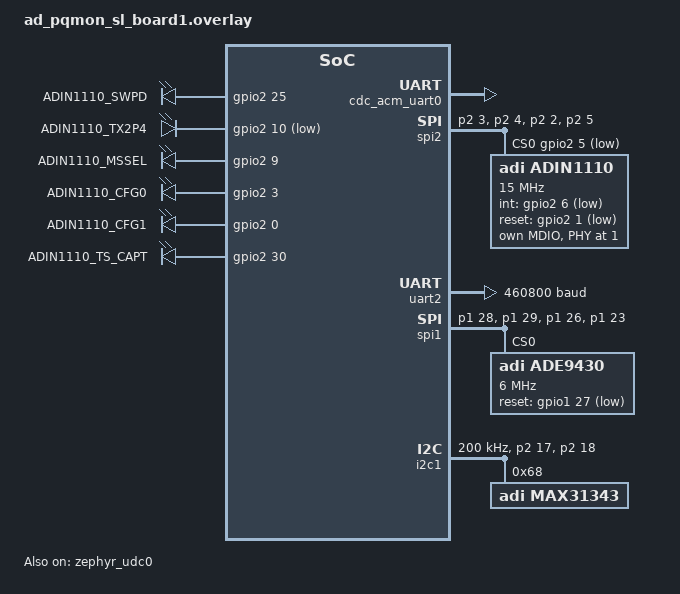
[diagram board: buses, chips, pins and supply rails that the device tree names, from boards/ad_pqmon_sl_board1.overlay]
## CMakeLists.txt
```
cmake_minimum_required(VERSION 3.20.0)
find_package(Zephyr REQUIRED HINTS $ENV{ZEPHYR_BASE})
project(pqmon_zephyr)

# DTS binding for MAX31343 RTC
list(APPEND DTS_ROOT ${CMAKE_CURRENT_SOURCE_DIR})

# USB compat shims (must come BEFORE HAL includes so wrap_max32_usb.h
# and mcr_regs.h are found before the upstream versions)
target_include_directories(zephyr_interface BEFORE INTERFACE
    ${CMAKE_CURRENT_SOURCE_DIR}/drivers/usb_compat)

# Include directories
zephyr_include_directories(drivers)
zephyr_include_directories(lib/pqlib/include)
zephyr_include_directories(src)
zephyr_include_directories(src/iio)

# Zephyr PTP subsystem internals (clock.h, port.h, ds.h, state_machine.h)
# Needed by ptp_status.c to query PTP port state and sync accuracy
target_include_directories(app PRIVATE ${ZEPHYR_BASE}/subsys/net/lib/ptp)

# Application sources
target_sources(app PRIVATE
    src/main.c
    src/no_os_shim.c
    src/afe_config.c
    src/afe_calibration.c
    src/flash_storage.c
    src/pqlib_afe.c
    src/pqlib_example.c
    src/pqlib_convert.c
    src/ptp_clock_adin1110_zephyr.c
    src/adin1110_early_init.c
    src/rtc_max31343.c
    src/iio/iiod.c
    src/iio_pqm.c
    src/iio_server.c
    src/ptp_status.c
    src/afe_sync.c
    src/uart_export.c
)

# Link PQLib static library
target_link_libraries(app PRIVATE
    ${CMAKE_CURRENT_SOURCE_DIR}/lib/pqlib/libadi_pqlib_cm4_gcc.a
)
```

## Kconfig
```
mainmenu "PQMON IIO Application"

source "Kconfig.zephyr"

choice IIO_TRANSPORT
	prompt "IIO transport"
	default IIO_TRANSPORT_USB

config IIO_TRANSPORT_USB
	bool "USB CDC/ACM"
	depends on USB_DEVICE_STACK_NEXT && USBD_CDC_ACM_CLASS

config IIO_TRANSPORT_TCP
	bool "TCP over T1L (port 30431)"
	depends on NET_TCP && NET_SOCKETS

endchoice
```

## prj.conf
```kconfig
# PQMON Shared Configuration
# Common settings for both master and slave boards
# Board-specific overrides in prj_master.conf / prj_slave.conf

# Basic Configuration
CONFIG_GPIO=y
CONFIG_SERIAL=y
CONFIG_CONSOLE=y
CONFIG_UART_CONSOLE=y
CONFIG_UART_INTERRUPT_DRIVEN=y
CONFIG_PRINTK=y

# SPI for ADIN1110 + ADE9430
CONFIG_SPI=y

# Enhanced Networking Stack for PTP
CONFIG_NETWORKING=y
CONFIG_NET_L2_ETHERNET=y
CONFIG_NET_IPV4=y
CONFIG_NET_IPV6=n
CONFIG_NET_UDP=y
CONFIG_NET_SOCKETS=y
CONFIG_POSIX_API=y

# Ethernet Driver for ADIN1110
CONFIG_ETH_ADIN2111=y
CONFIG_ETH_ADIN2111_SPI_CFG0=y
CONFIG_ETH_ADIN2111_TIMEOUT=1000

# === FULL ZEPHYR PTP SUBSYSTEM ===
CONFIG_PTP=y
CONFIG_PTP_CLOCK=y
CONFIG_PTP_CLOCK_INIT_PRIORITY=85

# PTP Protocol Configuration
CONFIG_PTP_ORDINARY_CLOCK=y
CONFIG_PTP_CLOCK_ACCURACY_100NS=y

# Network Packet Timestamping (CRITICAL for hardware timestamps)
CONFIG_NET_PKT_TIMESTAMP=y
CONFIG_NET_PKT_TIMESTAMP_THREAD=y
CONFIG_NET_PKT_TXTIME=y

# Logging
CONFIG_LOG=y
CONFIG_LOG_MAX_LEVEL=4
CONFIG_LOG_MODE_DEFERRED=y
CONFIG_ETHERNET_LOG_LEVEL_WRN=y
CONFIG_PTP_LOG_LEVEL_INF=y
CONFIG_NET_LOG=y

# Network Buffer Configuration
CONFIG_NET_BUF_RX_COUNT=32
CONFIG_NET_BUF_TX_COUNT=32
CONFIG_NET_PKT_RX_COUNT=32
CONFIG_NET_PKT_TX_COUNT=32
CONFIG_NET_MAX_CONTEXTS=10

# Stack sizes - larger for PQLib processing
CONFIG_MAIN_STACK_SIZE=8192
CONFIG_SYSTEM_WORKQUEUE_STACK_SIZE=4096

# Random number generator
# TEST_RANDOM_GENERATOR: non-cryptographic PRNG, sufficient for PTP
# (random port IDs). A production device with hardware RNG would use
# CONFIG_ENTROPY_HAS_DRIVER instead.
CONFIG_TEST_RANDOM_GENERATOR=y
CONFIG_ENTROPY_GENERATOR=y

# Memory Configuration - larger for PQLib
CONFIG_HEAP_MEM_POOL_SIZE=16384
# C library heap for iiod calloc (~7KB iiod_desc struct)
CONFIG_COMMON_LIBC_MALLOC_ARENA_SIZE=16384

# Static Network Configuration (common)
CONFIG_NET_CONFIG_SETTINGS=y
CONFIG_NET_CONFIG_NEED_IPV4=y
CONFIG_NET_CONFIG_MY_IPV4_NETMASK="255.255.255.0"
CONFIG_NET_CONFIG_MY_IPV4_GW="192.0.2.1"

# I2C for MAX31343 RTC
CONFIG_I2C=y
CONFIG_RTC=y

# Disable init priority checking — required because our custom PTP clock
# driver (adin1110_ptp_clock) uses init_priority=85 which must come after
# the ADIN1110 ethernet driver (init_priority=80), but the checker flags
# the DT parent-child relationship as a priority violation.
CONFIG_CHECK_INIT_PRIORITIES=n

# === CMSIS-DSP for PQLib ===
CONFIG_CMSIS_DSP=y
CONFIG_CMSIS_DSP_TRANSFORM=y
CONFIG_CMSIS_DSP_COMPLEXMATH=y
CONFIG_CMSIS_DSP_BASICMATH=y
CONFIG_CMSIS_DSP_FASTMATH=y
CONFIG_CMSIS_DSP_STATISTICS=y
CONFIG_CMSIS_DSP_FILTERING=y

# Float support for printf
CONFIG_CBPRINTF_FP_SUPPORT=y

# Hardware FPU - softabi to match PQLib .a (compiled without hard-float)
CONFIG_FPU=y
CONFIG_FP_SOFTABI=y

# Flash + NVS for calibration storage
CONFIG_FLASH=y
CONFIG_FLASH_MAP=y
CONFIG_NVS=y

# IIO Transport: TCP over T1L
CONFIG_NET_TCP=y
CONFIG_NET_CONTEXT_RCVTIMEO=y
CONFIG_NET_MAX_CONN=16
CONFIG_NET_TCP_TIME_WAIT_DELAY=250

# IIO Transport on USB
CONFIG_IIO_TRANSPORT_USB=y
CONFIG_USB_DEVICE_STACK_NEXT=y
CONFIG_USBD_CDC_ACM_CLASS=y

# Suppress Zephyr subsystem log noise
CONFIG_USBD_LOG_LEVEL_ERR=y
CONFIG_USBD_CDC_ACM_LOG_LEVEL_ERR=y
CONFIG_UDC_DRIVER_LOG_LEVEL_ERR=y
CONFIG_PHY_LOG_LEVEL_WRN=y
CONFIG_NVS_LOG_LEVEL_WRN=y
```

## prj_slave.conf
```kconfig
# PQMON Slave-specific Configuration
# Use with: -DCONF_FILE="prj.conf;prj_slave.conf"

# Static Network Configuration - Slave
CONFIG_NET_CONFIG_MY_IPV4_ADDR="192.0.2.2"

# PTP BTCA - Slave (higher = lower priority)
CONFIG_PTP_PRIORITY1=200
CONFIG_PTP_PRIORITY2=200

# Force this device to be timeReceiver only
CONFIG_PTP_TIME_RECEIVER_ONLY=y
```

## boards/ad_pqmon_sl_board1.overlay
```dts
/*
 * Device tree overlay for AD-PQMON-SL - BOARD 1
 * ADIN1110 T1L (SPI2) + ADE9430 AFE (SPI1) + MAX31343 RTC (I2C1)
 * Configured as 192.0.2.1/24 for direct T1L connection
 */

&spi2 {
	status = "okay";
	pinctrl-0 = <&spi2_miso_p2_3 &spi2_mosi_p2_4 &spi2_sck_p2_2 &spi2_ss0_p2_5>;
	pinctrl-names = "default";
	cs-gpios = <&gpio2 5 257>;  /* P2.5 - ACTIVE_LOW(1) | VDDIOH(256) */

	/* ADIN1110 10BASE-T1L MAC-PHY - BOARD 1 */
	adin1110: adin1110@0 {
		compatible = "adi,adin1110";
		reg = <0>;
		spi-max-frequency = <15000000>;
		int-gpios = <&gpio2 6 273>;  /* P2.6 - ACTIVE_LOW(1) | PULL_UP(16) | VDDIOH(256) */
		reset-gpios = <&gpio2 1 257>;  /* P2.1 - ACTIVE_LOW(1) | VDDIOH(256) */
		status = "okay";

		/* Single port configuration - BOARD 1 MAC */
		port1 {
			local-mac-address = [00 E0 22 FE DA 01];
		};

		/* MDIO for integrated PHY */
		mdio {
			compatible = "adi,adin2111-mdio";
			status = "okay";
			#address-cells = <1>;
			#size-cells = <0>;

			ethernet-phy@1 {
				reg = <0x1>;
				compatible = "adi,adin2111-phy";
				status = "okay";
			};
		};

		/* PTP Clock for hardware timestamping */
		ptp_clock {
			compatible = "adi,adin1110-ptp-clock";
			status = "okay";
		};
	};
};

/* Override SPI1 pinctrl to set VDDIOH (3.3V) for ADE9430 I/O levels.
 * Without this, pins default to VDDIO (1.8V) and ADE9430 won't respond. */
&pinctrl {
	spi1_miso_p1_28: spi1_miso_p1_28 {
		pinmux = <MAX32_PINMUX(1, 28, AF1)>;
		power-source = <MAX32_VSEL_VDDIOH>;
	};
	spi1_mosi_p1_29: spi1_mosi_p1_29 {
		pinmux = <MAX32_PINMUX(1, 29, AF1)>;
		power-source = <MAX32_VSEL_VDDIOH>;
	};
	spi1_sck_p1_26: spi1_sck_p1_26 {
		pinmux = <MAX32_PINMUX(1, 26, AF1)>;
		power-source = <MAX32_VSEL_VDDIOH>;
	};
	spi1_ss0_p1_23: spi1_ss0_p1_23 {
		pinmux = <MAX32_PINMUX(1, 23, AF1)>;
		power-source = <MAX32_VSEL_VDDIOH>;
	};
	uart2_rx_p1_9_vddioh: uart2_rx_p1_9_vddioh {
		pinmux = <MAX32_PINMUX(1, 9, AF1)>;
		power-source = <MAX32_VSEL_VDDIOH>;
	};
	uart2_tx_p1_10_vddioh: uart2_tx_p1_10_vddioh {
		pinmux = <MAX32_PINMUX(1, 10, AF1)>;
		power-source = <MAX32_VSEL_VDDIOH>;
	};
};

/* UART2 for CSV data export (P1.9=RX, P1.10=TX, 460800 baud) */
&uart2 {
	status = "okay";
	current-speed = <460800>;
	pinctrl-0 = <&uart2_rx_p1_9_vddioh &uart2_tx_p1_10_vddioh>;
	pinctrl-names = "default";
};

/* SPI1 for ADE9430 Power Quality AFE
 * use hardware SS (SPI peripheral drives P1.23 via AF1).*/
&spi1 {
	status = "okay";
	pinctrl-0 = <&spi1_miso_p1_28 &spi1_mosi_p1_29 &spi1_sck_p1_26 &spi1_ss0_p1_23>;
	pinctrl-names = "default";

	ade9430: ade9430@0 {
		compatible = "adi,ade9430";
		reg = <0>;
		spi-max-frequency = <6000000>;
		reset-gpios = <&gpio1 27 273>;  /* P1.27 - ACTIVE_LOW(1) | PULL_UP(16) | VDDIOH(256) */
		status = "okay";
	};
};

/* Configure additional ADIN1110 control pins */
/ {
	/* Add additional RAM - use 256KB sram4 region */
	chosen {
		zephyr,sram = &sram4;
	};

	adin1110_cfg {
		compatible = "gpio-leds";

		adin_swpd: adin_swpd {
			gpios = <&gpio2 25 272>;  /* P2.25 - ACTIVE_HIGH(0) | PULL_UP(16) | VDDIOH(256) */
			label = "ADIN1110_SWPD";
		};

		adin_tx2p4: adin_tx2p4 {
			gpios = <&gpio2 10 289>;  /* P2.10 - ACTIVE_LOW(1) | PULL_DOWN(32) | VDDIOH(256) */
			label = "ADIN1110_TX2P4";
		};

		adin_mssel: adin_mssel {
			gpios = <&gpio2 9 256>;  /* P2.9 - ACTIVE_HIGH(0) | VDDIOH(256) */
			label = "ADIN1110_MSSEL";
		};

		adin_cfg0: adin_cfg0 {
			gpios = <&gpio2 3 256>;  /* P2.3 - ACTIVE_HIGH(0) | VDDIOH(256) */
			label = "ADIN1110_CFG0";
		};

		adin_cfg1: adin_cfg1 {
			gpios = <&gpio2 0 272>;  /* P2.0 - ACTIVE_HIGH(0) | PULL_UP(16) | VDDIOH(256) */
			label = "ADIN1110_CFG1";
		};

		adin_ts_capt: adin_ts_capt {
			gpios = <&gpio2 30 256>;  /* P2.30 - ACTIVE_HIGH(0) | VDDIOH(256) */
			label = "ADIN1110_TS_CAPT";
		};
	};
};

/* I2C1 for MAX31343 RTC */
&i2c1 {
	status = "okay";
	pinctrl-0 = <&i2c1_sda_p2_17 &i2c1_scl_p2_18>;
	pinctrl-names = "default";
	clock-frequency = <200000>;

	max31343: max31343@68 {
		compatible = "adi,max31343";
		reg = <0x68>;
		status = "okay";
	};
};

/* Extend SRAM region: sram4 (256KB) + sram5 (256KB) are contiguous
 * at 0x20040000..0x200BFFFF = 512KB total */
&sram4 {
	reg = <0x20040000 DT_SIZE_K(512)>;
	status = "okay";
};

/* Flash partition for NVS calibration storage.
 * MAX32650 flash: 3MB at 0x10000000, erase block = 16KB.
 * Use last 32KB (2 sectors) for NVS. */
&flash0 {
	partitions {
		compatible = "fixed-partitions";
		#address-cells = <1>;
		#size-cells = <1>;

		storage_partition: partition@2f8000 {
			label = "storage";
			reg = <0x2f8000 0x8000>;
		};
	};
};

/* USB HS peripheral for CDC/ACM (IIO transport) */
/ {
	soc {
		zephyr_udc0: usbhs@400b1000 {
			compatible = "adi,max32-usbhs";
			reg = <0x400b1000 0x1000>;
			clocks = <&gcr ADI_MAX32_CLOCK_BUS0 3>;
			interrupts = <2 0>;  /* USB_IRQn = 2 (NOT 18, which is SPI2!) */
			num-bidir-endpoints = <1>;
			num-in-endpoints = <6>;
			num-out-endpoints = <6>;
			maximum-speed = "high-speed";
			status = "okay";

			cdc_acm_uart0: cdc_acm_uart0 {
				compatible = "zephyr,cdc-acm-uart";
				tx-fifo-size = <16384>;
				rx-fifo-size = <2048>;
			};
		};
	};
};
```

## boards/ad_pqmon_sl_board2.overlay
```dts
/*
 * Device tree overlay for AD-PQMON-SL - BOARD 2
 * ADIN1110 T1L (SPI2) + ADE9430 AFE (SPI1) + MAX31343 RTC (I2C1)
 * Configured as 192.0.2.2/24 for direct T1L connection with Board 1
 */

&spi2 {
	status = "okay";
	pinctrl-0 = <&spi2_miso_p2_3 &spi2_mosi_p2_4 &spi2_sck_p2_2 &spi2_ss0_p2_5>;
	pinctrl-names = "default";
	cs-gpios = <&gpio2 5 257>;  /* P2.5 - ACTIVE_LOW(1) | VDDIOH(256) */

	/* ADIN1110 10BASE-T1L MAC-PHY - BOARD 2 */
	adin1110: adin1110@0 {
		compatible = "adi,adin1110";
		reg = <0>;
		spi-max-frequency = <15000000>;
		int-gpios = <&gpio2 6 273>;  /* P2.6 - ACTIVE_LOW(1) | PULL_UP(16) | VDDIOH(256) */
		reset-gpios = <&gpio2 1 257>;  /* P2.1 - ACTIVE_LOW(1) | VDDIOH(256) */
		status = "okay";

		/* Single port configuration - BOARD 2 MAC */
		port1 {
			local-mac-address = [00 E0 22 FE DA 02];
		};

		/* MDIO for integrated PHY */
		mdio {
			compatible = "adi,adin2111-mdio";
			status = "okay";
			#address-cells = <1>;
			#size-cells = <0>;

			ethernet-phy@1 {
				reg = <0x1>;
				compatible = "adi,adin2111-phy";
				status = "okay";
			};
		};

		/* PTP Clock for hardware timestamping */
		ptp_clock {
			compatible = "adi,adin1110-ptp-clock";
			status = "okay";
		};
	};
};

/* Override SPI1 pinctrl to set VDDIOH (3.3V) for ADE9430 I/O levels.
 * Without this, pins default to VDDIO (1.8V) and ADE9430 won't respond. */
&pinctrl {
	spi1_miso_p1_28: spi1_miso_p1_28 {
		pinmux = <MAX32_PINMUX(1, 28, AF1)>;
		power-source = <MAX32_VSEL_VDDIOH>;
	};
	spi1_mosi_p1_29: spi1_mosi_p1_29 {
		pinmux = <MAX32_PINMUX(1, 29, AF1)>;
		power-source = <MAX32_VSEL_VDDIOH>;
	};
	spi1_sck_p1_26: spi1_sck_p1_26 {
		pinmux = <MAX32_PINMUX(1, 26, AF1)>;
		power-source = <MAX32_VSEL_VDDIOH>;
	};
	spi1_ss0_p1_23: spi1_ss0_p1_23 {
		pinmux = <MAX32_PINMUX(1, 23, AF1)>;
		power-source = <MAX32_VSEL_VDDIOH>;
	};
	/* UART2 pinctrl — set VDDIOH (3.3V) for I/O levels */
	uart2_rx_p1_9_vddioh: uart2_rx_p1_9_vddioh {
		pinmux = <MAX32_PINMUX(1, 9, AF1)>;
		power-source = <MAX32_VSEL_VDDIOH>;
	};
	uart2_tx_p1_10_vddioh: uart2_tx_p1_10_vddioh {
		pinmux = <MAX32_PINMUX(1, 10, AF1)>;
		power-source = <MAX32_VSEL_VDDIOH>;
	};
};

/* UART2 for CSV data export (P1.9=RX, P1.10=TX, 460800 baud) */
&uart2 {
	status = "okay";
	current-speed = <460800>;
	pinctrl-0 = <&uart2_rx_p1_9_vddioh &uart2_tx_p1_10_vddioh>;
	pinctrl-names = "default";
};

/* SPI1 for ADE9430 Power Quality AFE
 * use hardware SS (SPI peripheral drives P1.23 via AF1).*/
&spi1 {
	status = "okay";
	pinctrl-0 = <&spi1_miso_p1_28 &spi1_mosi_p1_29 &spi1_sck_p1_26 &spi1_ss0_p1_23>;
	pinctrl-names = "default";

	ade9430: ade9430@0 {
		compatible = "adi,ade9430";
		reg = <0>;
		spi-max-frequency = <6000000>;
		reset-gpios = <&gpio1 27 273>;  /* P1.27 - ACTIVE_LOW(1) | PULL_UP(16) | VDDIOH(256) */
		status = "okay";
	};
};

/* Configure additional ADIN1110 control pins */
/ {
	/* Add additional RAM - use 256KB sram4 region */
	chosen {
		zephyr,sram = &sram4;
	};

	adin1110_cfg {
		compatible = "gpio-leds";

		adin_swpd: adin_swpd {
			gpios = <&gpio2 25 272>;  /* P2.25 - ACTIVE_HIGH(0) | PULL_UP(16) | VDDIOH(256) */
			label = "ADIN1110_SWPD";
		};

		adin_tx2p4: adin_tx2p4 {
			gpios = <&gpio2 10 289>;  /* P2.10 - ACTIVE_LOW(1) | PULL_DOWN(32) | VDDIOH(256) */
			label = "ADIN1110_TX2P4";
		};

		adin_mssel: adin_mssel {
			gpios = <&gpio2 9 256>;  /* P2.9 - ACTIVE_HIGH(0) | VDDIOH(256) */
			label = "ADIN1110_MSSEL";
		};

		adin_cfg0: adin_cfg0 {
			gpios = <&gpio2 3 256>;  /* P2.3 - ACTIVE_HIGH(0) | VDDIOH(256) */
			label = "ADIN1110_CFG0";
		};

		adin_cfg1: adin_cfg1 {
			gpios = <&gpio2 0 272>;  /* P2.0 - ACTIVE_HIGH(0) | PULL_UP(16) | VDDIOH(256) */
			label = "ADIN1110_CFG1";
		};

		adin_ts_capt: adin_ts_capt {
			gpios = <&gpio2 30 256>;  /* P2.30 - ACTIVE_HIGH(0) | VDDIOH(256) */
			label = "ADIN1110_TS_CAPT";
		};
	};
};

/* I2C1 for MAX31343 RTC */
&i2c1 {
	status = "okay";
	pinctrl-0 = <&i2c1_sda_p2_17 &i2c1_scl_p2_18>;
	pinctrl-names = "default";
	clock-frequency = <200000>;

	max31343: max31343@68 {
		compatible = "adi,max31343";
		reg = <0x68>;
		status = "okay";
	};
};

/* Extend SRAM region: sram4 (256KB) + sram5 (256KB) are contiguous
 * at 0x20040000..0x200BFFFF = 512KB total */
&sram4 {
	reg = <0x20040000 DT_SIZE_K(512)>;
	status = "okay";
};

/* Flash partition for NVS calibration storage.
 * MAX32650 flash: 3MB at 0x10000000, erase block = 16KB.
 * Use last 32KB (2 sectors) for NVS. */
&flash0 {
	partitions {
		compatible = "fixed-partitions";
		#address-cells = <1>;
		#size-cells = <1>;

		storage_partition: partition@2f8000 {
			label = "storage";
			reg = <0x2f8000 0x8000>;
		};
	};
};

/* USB HS peripheral for CDC/ACM (IIO transport) */
/ {
	soc {
		zephyr_udc0: usbhs@400b1000 {
			compatible = "adi,max32-usbhs";
			reg = <0x400b1000 0x1000>;
			clocks = <&gcr ADI_MAX32_CLOCK_BUS0 3>;
			interrupts = <2 0>;  /* USB_IRQn = 2 (NOT 18, which is SPI2!) */
			num-bidir-endpoints = <1>;
			num-in-endpoints = <6>;
			num-out-endpoints = <6>;
			maximum-speed = "high-speed";
			status = "okay";

			cdc_acm_uart0: cdc_acm_uart0 {
				compatible = "zephyr,cdc-acm-uart";
				tx-fifo-size = <16384>;
				rx-fifo-size = <2048>;
			};
		};
	};
};
```

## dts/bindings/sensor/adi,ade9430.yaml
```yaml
description: Analog Devices ADE9430 Power Quality AFE

compatible: "adi,ade9430"

include: spi-device.yaml

properties:
  reset-gpios:
    type: phandle-array
    required: true
    description: GPIO connected to ADE9430 reset pin (active low)
```

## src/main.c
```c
/*******************************************************************************
 *   @file   main.c
 *   @brief  PQMON Zephyr Application
 *   @author Radu Etz (radu.etz@analog.com)
 ********************************************************************************
 * Copyright (c) 2026 Analog Devices, Inc.
 *
 * Redistribution and use in source and binary forms, with or without
 * modification, are permitted provided that the following conditions are met:
 *
 * 1. Redistributions of source code must retain the above copyright notice,
 *    this list of conditions and the following disclaimer.
 *
 * 2. Redistributions in binary form must reproduce the above copyright notice,
 *    this list of conditions and the following disclaimer in the documentation
 *    and/or other materials provided with the distribution.
 *
 * 3. Neither the name of Analog Devices, Inc. nor the names of its
 *    contributors may be used to endorse or promote products derived from this
 *    software without specific prior written permission.
 *
 * THIS SOFTWARE IS PROVIDED BY ANALOG DEVICES, INC. "AS IS" AND ANY EXPRESS OR
 * IMPLIED WARRANTIES, INCLUDING, BUT NOT LIMITED TO, THE IMPLIED WARRANTIES OF
 * MERCHANTABILITY AND FITNESS FOR A PARTICULAR PURPOSE ARE DISCLAIMED. IN NO
 * EVENT SHALL ANALOG DEVICES, INC. BE LIABLE FOR ANY DIRECT, INDIRECT,
 * INCIDENTAL, SPECIAL, EXEMPLARY, OR CONSEQUENTIAL DAMAGES (INCLUDING, BUT NOT
 * LIMITED TO, PROCUREMENT OF SUBSTITUTE GOODS OR SERVICES; LOSS OF USE, DATA,
 * OR PROFITS; OR BUSINESS INTERRUPTION) HOWEVER CAUSED AND ON ANY THEORY OF
 * LIABILITY, WHETHER IN CONTRACT, STRICT LIABILITY, OR TORT (INCLUDING
 * NEGLIGENCE OR OTHERWISE) ARISING IN ANY WAY OUT OF THE USE OF THIS SOFTWARE,
 * EVEN IF ADVISED OF THE POSSIBILITY OF SUCH DAMAGE.
 *******************************************************************************/

/*
 * Combines PTP time synchronization with ADE9430 power quality monitoring.
 *
 * Boot flow:
 *   1. Wait for network interface
 *   2. Start IIO server (TCP or USB)
 *   3. Verify PTP clock + RTC devices
 *   4. Init TS_CAPT, 1PPS, TS_TIMER IRQ
 *   5. Init ADE9430 AFE + PQLib, start measurement
 *   6. Enable PQLib 1PPS sync + arm RTC sync
 *   7. Main loop: poll AFE, process PQLib, log PTP status
 *
 * PQ measurements start immediately — PTP convergence happens in
 * the background.
 */

#include <zephyr/kernel.h>
#include <zephyr/device.h>
#include <zephyr/net/net_if.h>
#include <zephyr/net/ptp_time.h>
#include <zephyr/drivers/ptp_clock.h>
#include <zephyr/drivers/rtc.h>
#include <zephyr/logging/log.h>
#include <stdio.h>
#include <time.h>

#include "ptp_clock_adin1110_hw.h"
#include "rtc_max31343.h"
#include "pqlib_example.h"
#include "pqlib_afe.h"
#include "afe_calibration.h"
#include "flash_storage.h"
#include "iio_server.h"
#include "ptp_status.h"
#include "afe_sync.h"
#include "uart_export.h"

LOG_MODULE_REGISTER(pqmon_app, LOG_LEVEL_INF);

/* 1PPS configuration: 500ms high + 500ms low = 1Hz */
#define TS_TIMER_1PPS_HI_NS    500000000U
#define TS_TIMER_1PPS_LO_NS    500000000U
#define TS_TIMER_START_NS      16U

/* TS_TIMER re-alignment: wait until PTP offset is below 200ns.
 * The 1PPS phase is locked at re-alignment time, so this must be tight. */
#define TS_TIMER_REALIGN_THRESHOLD_NS  200
/* Require this many consecutive readings below threshold before
 * re-aligning. Prevents false triggers during PI servo oscillation. */
#define TS_TIMER_STABLE_COUNT          4

/* Minimum uptime before trusting GRAND_MASTER convergence.
 * BMCA resolves in ~5-10s (3 announce intervals at 1Hz).
 * 20s gives margin — if still GM after this, it's the real GM. */
#define PTP_BMCA_SETTLE_MS  20000

#define PTP_CLOCK_NODE DT_INST(0, adi_adin1110_ptp_clock)
static const struct device *ptp_clock_dev = DEVICE_DT_GET(PTP_CLOCK_NODE);

#define RTC_NODE DT_NODELABEL(max31343)
static const struct device *rtc_dev = DEVICE_DT_GET(RTC_NODE);

/* Declared in pqlib_example.c - PTP time in ms for SyncLibTime */
extern volatile int64_t ptp_time_ms;
extern volatile uint8_t newSyncTimeAvailable;

static void wait_for_network(void)
{
	struct net_if *iface;
	int timeout = 100;

	do {
		k_sleep(K_MSEC(100));
		iface = net_if_get_default();
		timeout--;
	} while ((!iface || !net_if_is_up(iface)) && timeout > 0);

	if (!iface || !net_if_is_up(iface)) {
		LOG_ERR("Network interface failed to initialize");
	}
}

/**
 * @brief Update PQLib time from PTP syntonized counter via TS_CAPT
 */
static void update_pqlib_time(void)
{
	struct net_ptp_time capt;

	if (adin1110_ptp_capture_timestamp(&capt) == 0) {
		ptp_time_ms = (int64_t)capt.second * 1000LL +
			      capt.nanosecond / 1000000;
		newSyncTimeAvailable = 1;
	}
}

int main(void)
{
	bool ts_timer_enabled = false;
	bool ts_capt_ready = false;
	bool rtc_ready = false;
	bool rtc_irq_sync_ready = false;
	bool afe_initialized = false;
	bool pqlib_initialized = false;
	bool measurement_started = false;
	bool events_enabled = false;
	bool ts_timer_realigned = false;
	bool afe_sync_inited = false;
	bool afe_sync_ready_sent = false;
	int64_t uart_export_next_ms = 0;
	int ts_timer_stable_count = 0;
	int status;
	int ret;

	printk("\n\n=== PQMON BOOT ===\n\n");
	printf("PQMON: starting (PTP priority1=%d)\n",
	       CONFIG_PTP_PRIORITY1);

	/* --- Phase 1: Network + IIO server --- */
	wait_for_network();

	ret = iio_server_init();
	if (ret == 0) {
		printf("IIO: server started OK\n");
	} else {
		printf("IIO: server init FAILED (%d)\n", ret);
	}

	/* UART2 CSV export */
	ret = uart_export_init();
	if (ret != 0) {
		printf("UART2: CSV export disabled (%d)\n", ret);
	}

	/* --- Phase 2: Verify devices --- */
	if (!device_is_ready(ptp_clock_dev)) {
		printf("PTP: clock device not ready\n");
		return -ENODEV;
	}
	printf("PTP: clock device ready\n");

	if (!device_is_ready(rtc_dev)) {
		printf("RTC: MAX31343 not ready - sync disabled\n");
	} else {
		rtc_ready = true;
		printf("RTC: MAX31343 ready\n");
	}

	/* --- Phase 3: Init 1PPS, TS_CAPT, TS_TIMER IRQ --- */
	ret = adin1110_ptp_ts_capt_init();
	if (ret == 0) {
		ts_capt_ready = true;
		printf("TS_CAPT: initialized (P2.30)\n");
	} else {
		printf("TS_CAPT: init FAILED (%d)\n", ret);
	}

	ret = adin1110_ptp_configure_ts_timer(
		TS_TIMER_1PPS_HI_NS, TS_TIMER_1PPS_LO_NS, TS_TIMER_START_NS);
	if (ret == 0) {
		ts_timer_enabled = true;
		printf("1PPS: enabled on P2.9\n");
	} else {
		printf("1PPS: enable FAILED (%d)\n", ret);
	}

	if (rtc_ready && ts_capt_ready && ts_timer_enabled) {
		ret = adin1110_ptp_ts_timer_irq_init(rtc_dev);
		if (ret == 0) {
			rtc_irq_sync_ready = true;
			printf("TS_TIMER: IRQ sync ready\n");
		} else {
			printf("TS_TIMER: IRQ init FAILED (%d)\n", ret);
		}
	}

	/* --- Phase 4: Init AFE + PQLib --- */
	printf("AFE: initializing...\n");
	status = afe_init();
	if (status == 0) {
		afe_initialized = true;
		printf("AFE: init OK\n");
	} else {
		printf("AFE: init FAILED (%d)\n", status);
	}

	if (afe_initialized) {
		printf("PQLib: opening...\n");
		status = pqm_measurement_init();
		if (status == 0) {
			pqlib_initialized = true;
			printf("PQLib: init OK\n");
		} else {
			printf("PQLib: init FAILED (%d)\n", status);
		}
	}

	/* --- Phase 5: Start measurement + enable sync --- */
	if (pqlib_initialized && ts_capt_ready) {
		update_pqlib_time();
		printf("PQLib: starting measurement...\n");
		status = pqm_start_measurement(false);
		if (status == 0) {
			measurement_started = true;
			printf("PQLib: measurement started\n");

			/* Start dedicated AFE processing thread.
			 * This runs pqm_one_cycle() in a tight cooperative
			 * loop so we never miss an RMSONERDY event. */
			pqm_afe_thread_start();

			/* Enable 1PPS-driven PQLib time sync.
			 * Even before PTP converges, the initial seed
			 * time provides a reasonable epoch. PTP will
			 * correct it as sync messages arrive. */
			adin1110_ptp_enable_pqlib_sync();
		} else {
			printf("PQLib: start FAILED (%d)\n", status);
		}
	}

	/* Arm RTC sync — will fire on first 1PPS after PTP has time */
	if (rtc_irq_sync_ready) {
		adin1110_ptp_arm_rtc_sync();
		printf("RTC: sync armed\n");
	}

	/* --- Phase 6: Main loop --- */
	printf("Entering main loop (%s)\n",
	       measurement_started ? "PQM active" : "PQM init failed");

	while (1) {
		if (measurement_started) {
			/* AFE polling and PQLib processing now run in the
			 * dedicated AFE thread. Main loop only handles:
			 * - PTP convergence checks
			 * - TS_TIMER re-alignment
			 * - Event accumulation gating
			 * - AFE sync orchestration */

			/* Main loop is no longer time-critical */
			k_msleep(10);

			/* UART2 CSV export — once per second */
			if (k_uptime_get() >= uart_export_next_ms) {
				uart_export_send();
				uart_export_next_ms = k_uptime_get() + 1000;
			}
		} else {
			/* PQM init failed — just idle */
			k_sleep(K_SECONDS(5));
		}

		/* PQLib time sync is now handled by TS_TIMER 1PPS ISR —
		 * ptp_time_ms is updated every second at exact PTP boundary.
		 * SyncLibTime() in process_and_prepare_output() picks it up. */

		/* Event accumulation: enable once PTP is truly operational.
		 *
		 * TIME_RECEIVER: require servo_active (rate_adjust called
		 * by PI servo) + converged.
		 *
		 * GRAND_MASTER: the GM's servo never runs, so servo_active
		 * is never true. Instead, wait for BMCA to settle: if the
		 * board is still converged after PTP_BMCA_SETTLE_MS, it's
		 * the real GM (the slave would have transitioned to TR by
		 * then). BMCA resolves in ~5-10s; 20s gives margin. */
		if (!events_enabled) {
			struct ptp_sync_status ptp_st;

			if (ptp_get_sync_status(&ptp_st) == 0 &&
			    ptp_st.converged) {
				if (adin1110_ptp_servo_active() ||
				    k_uptime_get() > PTP_BMCA_SETTLE_MS) {
					pqlib_enable_event_accumulation();
					events_enabled = true;
				}
			}
		}

		/* Re-align TS_TIMER only on TIME_RECEIVER after the
		 * PI servo is active and offset has been stable below
		 * 200ns for TS_TIMER_STABLE_COUNT consecutive readings.
		 * A single reading below threshold can be a transient
		 * zero-crossing during the servo's damped oscillation.
		 * The GRAND_MASTER's TS_TIMER from boot is the reference;
		 * the slave aligns to it. */
		if (!ts_timer_realigned && ts_timer_enabled &&
		    adin1110_ptp_servo_active()) {
			struct ptp_sync_status ptp_st;

			if (ptp_get_sync_status(&ptp_st) == 0 &&
			    ptp_st.port_state == PTP_PORT_STATE_TIME_RECEIVER) {
				int64_t abs_off = ptp_st.offset_from_tt;

				if (abs_off < 0) {
					abs_off = -abs_off;
				}

				if (abs_off < TS_TIMER_REALIGN_THRESHOLD_NS) {
					ts_timer_stable_count++;
				} else {
					ts_timer_stable_count = 0;
				}

				if (ts_timer_stable_count >=
				    TS_TIMER_STABLE_COUNT) {
					adin1110_ptp_stop_ts_timer();
					k_msleep(10);
					ret = adin1110_ptp_configure_ts_timer(
						TS_TIMER_1PPS_HI_NS,
						TS_TIMER_1PPS_LO_NS,
						TS_TIMER_START_NS);
					if (ret == 0) {
						LOG_INF("TS_TIMER re-aligned "
							"(offset=%lldns "
							"delay=%lldns, "
							"stable=%d)",
							(long long)ptp_st.offset_from_tt,
							(long long)ptp_st.mean_delay,
							ts_timer_stable_count);
					}
					ts_timer_realigned = true;
				}
			}
		}

		/* AFE sync: initialize once we know our PTP role.
		 * Master (GRAND_MASTER) listens for slave READY.
		 * Slave (TIME_RECEIVER) will send READY after TS_TIMER realign. */
		if (!afe_sync_inited && events_enabled) {
			struct ptp_sync_status ptp_st;

			if (ptp_get_sync_status(&ptp_st) == 0 &&
			    ptp_st.converged) {
				bool is_master = (ptp_st.port_state !=
						  PTP_PORT_STATE_TIME_RECEIVER);
				const char *peer = is_master ?
					"192.0.2.2" : "192.0.2.1";
				ret = afe_sync_init(is_master, peer);
				if (ret == 0) {
					afe_sync_inited = true;
				} else {
					LOG_WRN("AFE sync init failed: %d "
						"(continuing without sync)",
						ret);
					afe_sync_inited = true;  /* Don't retry */
				}
			}
		}

		/* AFE sync: slave sends READY after TS_TIMER is realigned.
		 * This ensures PTP offset < 200ns and 1PPS edges are aligned
		 * before we attempt the synchronized AFE restart. */
		if (afe_sync_inited && ts_timer_realigned &&
		    !afe_sync_ready_sent && !afe_sync_is_complete()) {
			struct ptp_sync_status ptp_st;

			if (ptp_get_sync_status(&ptp_st) == 0 &&
			    ptp_st.port_state == PTP_PORT_STATE_TIME_RECEIVER) {
				afe_sync_send_ready();
				afe_sync_ready_sent = true;
			}
		}

	}

	return 0;
}
```

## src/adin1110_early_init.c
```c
/********************************************************************************
 *   @file   adin1110_early_init.c
 *   @brief  Early initialization for ADIN1110 configuration pins
 *   @author Radu Etz (radu.etz@analog.com)
 ********************************************************************************
 * Copyright (c) 2026 Analog Devices, Inc.
 *
 * Redistribution and use in source and binary forms, with or without
 * modification, are permitted provided that the following conditions are met:
 *
 * 1. Redistributions of source code must retain the above copyright notice,
 *    this list of conditions and the following disclaimer.
 *
 * 2. Redistributions in binary form must reproduce the above copyright notice,
 *    this list of conditions and the following disclaimer in the documentation
 *    and/or other materials provided with the distribution.
 *
 * 3. Neither the name of Analog Devices, Inc. nor the names of its
 *    contributors may be used to endorse or promote products derived from this
 *    software without specific prior written permission.
 *
 * THIS SOFTWARE IS PROVIDED BY ANALOG DEVICES, INC. "AS IS" AND ANY EXPRESS OR
 * IMPLIED WARRANTIES, INCLUDING, BUT NOT LIMITED TO, THE IMPLIED WARRANTIES OF
 * MERCHANTABILITY AND FITNESS FOR A PARTICULAR PURPOSE ARE DISCLAIMED. IN NO
 * EVENT SHALL ANALOG DEVICES, INC. BE LIABLE FOR ANY DIRECT, INDIRECT,
 * INCIDENTAL, SPECIAL, EXEMPLARY, OR CONSEQUENTIAL DAMAGES (INCLUDING, BUT NOT
 * LIMITED TO, PROCUREMENT OF SUBSTITUTE GOODS OR SERVICES; LOSS OF USE, DATA,
 * OR PROFITS; OR BUSINESS INTERRUPTION) HOWEVER CAUSED AND ON ANY THEORY OF
 * LIABILITY, WHETHER IN CONTRACT, STRICT LIABILITY, OR TORT (INCLUDING
 * NEGLIGENCE OR OTHERWISE) ARISING IN ANY WAY OUT OF THE USE OF THIS SOFTWARE,
 * EVEN IF ADVISED OF THE POSSIBILITY OF SUCH DAMAGE.
 ******************************************************************************/

#include <zephyr/kernel.h>
#include <zephyr/device.h>
#include <zephyr/drivers/gpio.h>
#include <zephyr/init.h>
#include <zephyr/logging/log.h>

LOG_MODULE_REGISTER(adin1110_early_init, LOG_LEVEL_INF);

/* ADIN1110 Configuration pins on Port 2 */
#define RESET_PIN    1  /* Hardware Reset (active low) */
#define SWPD_PIN    25  /* Software Power Down Enable */
#define TX2P4_PIN   10  /* 2.4V Transmit Amplitude Enable */
#define MSSEL_PIN    9  /* Master/Slave Select */
#define CFG0_PIN     3  /* Configuration 0 (shared with SPI_MISO) */
#define CFG1_PIN     0  /* Configuration 1 */

#define GPIO_VDDIOH  0x200  /* MAX32_GPIO_VSEL_VDDIOH flag */

static int adin1110_pins_early_init(void)
{
	const struct device *gpio2 = DEVICE_DT_GET(DT_NODELABEL(gpio2));
	int ret;

	if (!device_is_ready(gpio2)) {
		/* Too early, GPIO not ready yet */
		return -ENODEV;
	}

	/* Don't touch the reset pin - let the driver handle it */

	/* Configure SWPD (P2.25) = HIGH to enable normal operation */
	ret = gpio_pin_configure(gpio2, SWPD_PIN,
				 GPIO_OUTPUT_HIGH | GPIO_VDDIOH);
	if (ret < 0) {
		LOG_ERR("Failed to configure SWPD: %d", ret);
		return ret;
	}

	/* Configure TX2P4 (P2.10) = LOW initially */
	ret = gpio_pin_configure(gpio2, TX2P4_PIN,
				 GPIO_OUTPUT_LOW | GPIO_VDDIOH);
	if (ret < 0) {
		LOG_ERR("Failed to configure TX2P4: %d", ret);
		return ret;
	}

	/* Configure MSSEL (P2.9) = HIGH (no-OS uses HIGH) */
	ret = gpio_pin_configure(gpio2, MSSEL_PIN,
				 GPIO_OUTPUT_HIGH | GPIO_VDDIOH);
	if (ret < 0) {
		LOG_ERR("Failed to configure MSSEL: %d", ret);
		return ret;
	}

	/* Configure CFG1 (P2.0) = HIGH for Generic SPI mode */
	ret = gpio_pin_configure(gpio2, CFG1_PIN,
				 GPIO_OUTPUT_HIGH | GPIO_VDDIOH);
	if (ret < 0) {
		LOG_ERR("Failed to configure CFG1: %d", ret);
		return ret;
	}

	/* CFG0 (P2.3) is shared with SPI_MISO and will be configured by SPI driver.
	 * The ADIN1110 samples CFG0/CFG1 at power-up or reset.
	 * With CFG1=HIGH, the mode is determined by CFG0 state at that time. */

	LOG_DBG("ADIN1110 control pins configured: SWPD=1, TX2P4=0, MSSEL=1, CFG1=1");

	/* Small delay to ensure pins are stable */
	k_busy_wait(1000); /* 1ms */

	return 0;
}

/* Run at POST_KERNEL priority 40, before SPI (priority 70) and Ethernet (priority 80) */
SYS_INIT(adin1110_pins_early_init, POST_KERNEL, 40);
```

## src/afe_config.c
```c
/*******************************************************************************
 *   @file   afe_config.c
 *   @brief  Analog frontend functionalities
 *   @author Robert Budai (robert.budai@analog.com)
 ********************************************************************************
 * Copyright (c) 2024 Analog Devices, Inc.
 *
 * Redistribution and use in source and binary forms, with or without
 * modification, are permitted provided that the following conditions are met:
 *
 * 1. Redistributions of source code must retain the above copyright notice,
 *    this list of conditions and the following disclaimer.
 *
 * 2. Redistributions in binary form must reproduce the above copyright notice,
 *    this list of conditions and the following disclaimer in the documentation
 *    and/or other materials provided with the distribution.
 *
 * 3. Neither the name of Analog Devices, Inc. nor the names of its
 *    contributors may be used to endorse or promote products derived from this
 *    software without specific prior written permission.
 *
 * THIS SOFTWARE IS PROVIDED BY ANALOG DEVICES, INC. "AS IS" AND ANY EXPRESS OR
 * IMPLIED WARRANTIES, INCLUDING, BUT NOT LIMITED TO, THE IMPLIED WARRANTIES OF
 * MERCHANTABILITY AND FITNESS FOR A PARTICULAR PURPOSE ARE DISCLAIMED. IN NO
 * EVENT SHALL ANALOG DEVICES, INC. BE LIABLE FOR ANY DIRECT, INDIRECT,
 * INCIDENTAL, SPECIAL, EXEMPLARY, OR CONSEQUENTIAL DAMAGES (INCLUDING, BUT NOT
 * LIMITED TO, PROCUREMENT OF SUBSTITUTE GOODS OR SERVICES; LOSS OF USE, DATA,
 * OR PROFITS; OR BUSINESS INTERRUPTION) HOWEVER CAUSED AND ON ANY THEORY OF
 * LIABILITY, WHETHER IN CONTRACT, STRICT LIABILITY, OR TORT (INCLUDING
 * NEGLIGENCE OR OTHERWISE) ARISING IN ANY WAY OUT OF THE USE OF THIS SOFTWARE,
 * EVEN IF ADVISED OF THE POSSIBILITY OF SUCH DAMAGE.
 *******************************************************************************/

#include "afe_config.h"
#include "pqlib_example.h"

struct no_os_spi_desc *hSPI;
struct no_os_spi_msg spiMsg;
extern struct no_os_gpio_init_param reset_gpio_ip;

int afe_init(void)
{
	int status = 0;
	uint32_t config;

	status = spi_device_init();
	if (status)
		return status;

	status = reset_afe();
	if (status)
		return status;

	if (status == 0) {
		config = 0;
		status = afe_write_16bit_reg(REG_RUN, (uint16_t *)&config);
		if (status != 0) {
			status = SYS_STATUS_AFE_RUN_FAILED;
		}
	}
	config = BITM_CONFIG0_RMS_SRC_SEL | BITM_CONFIG0_PERIOD_AVG_CFG_AV16;
	status = afe_write_32bit_reg(REG_CONFIG0, (uint32_t *)&config);
	if (status != 0) {
		status = SYS_STATUS_AFE_CONFIG0_FAILED;
	} else {
		config = BITM_CONFIG1_BURST_EN;
		config |= BITM_CONFIG1_CF3_CFG;
		status = afe_write_16bit_reg(REG_CONFIG1, (uint16_t *)&config);
		if (status != 0) {
			status = SYS_STATUS_AFE_CONFIG1_FAILED;
		}
	}

	if (status == 0) {
		config = 0xC00;
		status = afe_write_16bit_reg(REG_CONFIG2, (uint16_t *)&config);
		if (status != 0) {
			status = SYS_STATUS_AFE_CONFIG2_FAILED;
		}
	}

	if (status == 0) {
		config = LP_SEL_APERIOD;
		config |= ZX_SEL_ZXVA;
		status = afe_write_16bit_reg(REG_ZX_LP_SEL, (uint16_t *)&config);
		if (status != 0) {
			status = SYS_STATUS_AFE_ZX_LP_SEL_FAILED;
		}
	}

	if (status == 0) {
		status = config_wfb();
		if (status != 0) {
			status = SYS_STATUS_AFE_WFB_CFG_FAILED;
		}
	}

	if (status == 0) {
		status = config_afe_irq();
		if (status != 0) {
			status = SYS_STATUS_AFE_MASK0_FAILED;
		}
	}
	if (status == 0) {
		config = 1;
		status = afe_write_16bit_reg(REG_RUN, (uint16_t *)&config);
		if (status != 0) {
			status = SYS_STATUS_AFE_RUN_FAILED;
		}
	}

	return status;
}

int afe_start(void)
{
	int status = SYS_STATUS_SUCCESS;
	uint32_t status0 = BITM_STATUS0_RMS1012RDY | BITM_STATUS0_RMSONERDY |
			   BITM_STATUS0_COH_PAGE_RDY;
	uint32_t config;

	if (status == 0) {
		config = 0;
		status = afe_write_16bit_reg(REG_RUN, (uint16_t *)&config);
		if (status != 0) {
			status = SYS_STATUS_AFE_RUN_FAILED;
		}
	}

	status = afe_write_32bit_reg(REG_STATUS0, (uint32_t *)&status0);

	if (status == 0) {
		config = 1;
		status = afe_write_16bit_reg(REG_RUN, (uint16_t *)&config);
		if (status != 0) {
			status = SYS_STATUS_AFE_RUN_FAILED;
		}
	}

	return status;
}

int config_afe_irq(void)
{
	int status = SYS_STATUS_SUCCESS;
	uint32_t config = 0;
	status = afe_write_32bit_reg(REG_MASK0, (uint32_t *)&config);
	if (status == 0) {
		config = BITM_MASK0_RMSONERDY | BITM_MASK0_COH_PAGE_RDY;
		status = afe_write_32bit_reg(REG_MASK0, (uint32_t *)&config);
		if (status != 0) {
			status = SYS_STATUS_AFE_MASK0_FAILED;
		}
	}
	return status;
}

int config_wfb(void)
{
	int status = SYS_STATUS_SUCCESS;
	uint16_t config = 0;
	config = (config & ~(BITM_WFB_CFG_WF_CAP_EN));
	status = afe_write_16bit_reg(REG_WFB_CFG, (uint16_t *)&config);

	if (status == 0) {
		config = BITM_WFB_CFG_WF_MODE | BITM_WFB_CFG_WF_SRC |
			 BITM_WFB_CFG_WF_IN_EN | BITM_WFB_CFG_WF_CAP_RESAMPLED_SEL |
			 BITM_WFB_CFG_BURST_ALL_CHAN;
		status = afe_write_16bit_reg(REG_WFB_CFG, (uint16_t *)&config);
		if (status != 0) {
			status = SYS_STATUS_AFE_WFB_CFG_FAILED;
		}
	}
	if (status == 0) {
		status = afe_read_16bit_buff(REG_WFB_CFG, 1, &config);
		if (status != 0) {
			status = SYS_STATUS_AFE_WFB_CFG_FAILED;
		}
	}
	if (status == 0) {
		config = config | BITM_WFB_CFG_WF_CAP_EN;
		status = afe_write_16bit_reg(REG_WFB_CFG, (uint16_t *)&config);
		if (status != 0) {
			status = SYS_STATUS_AFE_WFB_CFG_FAILED;
		}
	}

	return status;
}

int afe_read_waveform(uint16_t *pData, uint16_t numSamples)
{
	int status = SYS_STATUS_SUCCESS;
	int32_t cohPage = 0;
	int32_t readWaveformStartAddr = 0;

	status = afe_read_32bit_buff(REG_COH_PAGE, 1, (uint32_t *)&cohPage);
	if (status == 0) {
		if (cohPage == 0) {
			readWaveformStartAddr = REG_WAVEFORM_FIRST_HALF_ADDRESS;
		} else {
			readWaveformStartAddr = REG_WAVEFORM_SECOND_HALF_ADDRESS;
		}
		status = afe_read_16bit_buff(readWaveformStartAddr, numSamples,
					     (uint16_t *)&pData[0]);
		if (status != 0) {
			status = SYS_STATUS_AFE_READWAVEFORM_FAILED;
		}
	} else {
		status = SYS_STATUS_AFE_READWAVEFORM_FAILED;
	}
	return status;
}

int afe_read_period(uint32_t *pPeriod, uint16_t numPeriods)
{
	int status = SYS_STATUS_SUCCESS;
	for (uint16_t i = 0; i < numPeriods; i++) {
		status =
			afe_read_32bit_buff(REG_PERIOD_FORRMS + i, 1, (uint32_t *)&pPeriod[i]);
	}
	if (status != 0) {
		status = SYS_STATUS_AFE_READPERIOD_FAILED;
	}
	return status;
}

int afe_read_rms_one(uint32_t *pRMS, uint16_t numRMS)
{
	int status = SYS_STATUS_SUCCESS;
	status = afe_read_32bit_buff(REG_AVRMSONE_1, numRMS, (uint32_t *)&pRMS[0]);
	if (status != 0) {
		status = SYS_STATUS_AFE_READRMSONE_FAILED;
	}
	return status;
}

int afe_read_rms_1012(uint32_t *pRMS, uint16_t numRMS)
{
	int status = SYS_STATUS_SUCCESS;
	status = afe_read_32bit_buff(REG_AIRMS1012_1, numRMS, (uint32_t *)&pRMS[0]);
	if (status != 0) {
		status = SYS_STATUS_AFE_READRMS1012_FAILED;
	}
	return status;
}

int afe_read_angle(uint16_t *pAngle, uint16_t numAngles,
		   uint16_t angleVolCur)
{
	int status = SYS_STATUS_SUCCESS;
	uint16_t angleAddress = 0;
	if (angleVolCur == 0) {
		angleAddress = REG_ANGL_VA_VB;
	} else {
		angleAddress = REG_ANGL_IA_IB;
	}
	for (uint16_t i = 0; i < numAngles; i++) {
		status = afe_read_16bit_buff(angleAddress + i, 1, (uint16_t *)&pAngle[i]);
	}
	if (status != 0) {
		status = SYS_STATUS_AFE_READANGLE_FAILED;
	}
	return status;
}

int afe_read_status_1(uint32_t *pSTATUS1)
{
	int status = SYS_STATUS_SUCCESS;
	int32_t status1 = 0;

	status = afe_read_32bit_buff(REG_STATUS1, 1, pSTATUS1);
	status1 = *pSTATUS1;
	if (status1 & BITM_STATUS1_ZXVA) {
		status = afe_write_32bit_reg(REG_STATUS1, (uint32_t *)&status1);
	}
	if (status != 0) {
		status = SYS_STATUS_AFE_STATUS1_FAILED;
	}
	return status;
}

int afe_read_status_1_clear_zx(uint32_t *pSTATUS1, uint8_t phase)
{
	int status = SYS_STATUS_SUCCESS;
	uint32_t status1 = 0;
	uint32_t zx_mask;

	switch (phase) {
	case 0:
		zx_mask = BITM_STATUS1_ZXVA;
		break;
	case 1:
		zx_mask = BITM_STATUS1_ZXVB;
		break;
	case 2:
		zx_mask = BITM_STATUS1_ZXVC;
		break;
	default:
		zx_mask = BITM_STATUS1_ZXVA;
		break;
	}

	status = afe_read_32bit_buff(REG_STATUS1, 1, pSTATUS1);
	if (status != 0) {
		return SYS_STATUS_AFE_STATUS1_FAILED;
	}

	status1 = *pSTATUS1;

	if (status1 & zx_mask) {
		uint32_t clear_mask = zx_mask;
		status = afe_write_32bit_reg(REG_STATUS1, &clear_mask);
		if (status != 0) {
			return SYS_STATUS_AFE_STATUS1_FAILED;
		}
	}

	return status;
}

int afe_read_version(uint32_t *pVersion)
{
	int status = SYS_STATUS_SUCCESS;

	status = afe_read_32bit_buff(REG_VERSION2, 1, pVersion);
	if (status != 0) {
		status = SYS_STATUS_AFE_READVERSION_FAILED;
	}
	return status;
}

int afe_write_32bit_reg(uint16_t addr, uint32_t *pData)
{
	int status = SYS_STATUS_SUCCESS;
	uint8_t cmdBuffer[2 * ADI_PQLIB_WAVEFORM_BLOCK_SIZE *
			    ADI_PQLIB_TOTAL_WAVEFORM_CHANNELS +
			    2];

	cmdBuffer[0] = (addr >> 4);
	cmdBuffer[1] = ((addr & 0x0F) << 4);

	no_os_memswap64((void *)(&pData[0]), 4, 4);
	memcpy(&cmdBuffer[2], &pData[0], SPI_32BIT_DATA_SIZE);

	status = no_os_spi_write_and_read(hSPI, cmdBuffer, 6);

	return status;
}

int afe_write_16bit_reg(uint16_t addr, uint16_t *pData)
{
	int status = SYS_STATUS_SUCCESS;
	uint8_t cmdBuffer[2 * ADI_PQLIB_WAVEFORM_BLOCK_SIZE *
			    ADI_PQLIB_TOTAL_WAVEFORM_CHANNELS +
			    2];

	cmdBuffer[0] = (addr >> 4);
	cmdBuffer[1] = ((addr & 0x0F) << 4);

	no_os_memswap64((void *)(&pData[0]), 2, 2);
	memcpy(&cmdBuffer[2], &pData[0], SPI_16BIT_DATA_SIZE);

	status = no_os_spi_write_and_read(hSPI, cmdBuffer, 4);

	return status;
}

int afe_read_32bit_buff(uint16_t addr, uint16_t numSamples,
			uint32_t *pData)
{
	int status = SYS_STATUS_SUCCESS;
	uint8_t cmdBuffer[2 * ADI_PQLIB_WAVEFORM_BLOCK_SIZE *
			    ADI_PQLIB_TOTAL_WAVEFORM_CHANNELS +
			    2];

	cmdBuffer[0] = (addr >> 4);
	cmdBuffer[1] = ((addr & 0x0F) << 4) + 8;
	memset((uint8_t *)&cmdBuffer[2], 0, sizeof(uint8_t) * numSamples * 4);
	status =
		no_os_spi_write_and_read(hSPI, (uint8_t *)cmdBuffer, 2 + numSamples * 4);

	memcpy((uint8_t *)pData, &cmdBuffer[2], numSamples * 4);
	no_os_memswap64((void *)pData, numSamples * 4, 4);

	return status;
}

int afe_read_16bit_buff(uint16_t addr, uint16_t numSamples,
			uint16_t *pData)
{
	int status = SYS_STATUS_SUCCESS;
	uint8_t cmdBuffer[2 * ADI_PQLIB_WAVEFORM_BLOCK_SIZE *
			    ADI_PQLIB_TOTAL_WAVEFORM_CHANNELS +
			    2];

	cmdBuffer[0] = (addr >> 4);
	cmdBuffer[1] = ((addr & 0x0F) << 4) + 8;
	memset((uint8_t *)&cmdBuffer[2], 0, sizeof(uint8_t) * numSamples * 2);
	status =
		no_os_spi_write_and_read(hSPI, (uint8_t *)cmdBuffer, 2 + numSamples * 2);

	memcpy((uint8_t *)pData, &cmdBuffer[2], numSamples * 2);
	no_os_memswap64((void *)pData, numSamples * 2, 2);

	return status;
}

int reset_afe(void)
{
	int status = 0;
	struct no_os_gpio_desc *sw_reset_gpio_desc;

	status = no_os_gpio_get(&sw_reset_gpio_desc, &reset_gpio_ip);
	if (status)
		goto exit;
	status = no_os_gpio_direction_output(sw_reset_gpio_desc, 1);
	if (status)
		goto exit;
	status = no_os_gpio_set_value(sw_reset_gpio_desc, 0);
	if (status)
		goto exit;
	no_os_mdelay(100);
	status = no_os_gpio_set_value(sw_reset_gpio_desc, 1);
	if (status)
		goto exit;
	no_os_mdelay(100);
	return status;

exit:
	no_os_gpio_remove(sw_reset_gpio_desc);
	return status;
}

int spi_device_init(void)
{
	return no_os_spi_init(&hSPI, &spi_egy_ip);
}

int afe_read_power_energy(struct power_energy_data *pData)
{
	int status = SYS_STATUS_SUCCESS;
	static const uint16_t watt_regs[] = { REG_AWATT, REG_BWATT, REG_CWATT };
	static const uint16_t watthr_regs[] = { REG_AWATTHR_HI, REG_BWATTHR_HI,
						REG_CWATTHR_HI };
	static const uint16_t varhr_regs[] = { REG_AVARHR_HI, REG_BVARHR_HI,
					       REG_CVARHR_HI };
	static const uint16_t fwatt_regs[] = { REG_AFWATT, REG_BFWATT,
					       REG_CFWATT };
	static const uint16_t fwatthr_regs[] = { REG_AFWATTHR_HI,
						 REG_BFWATTHR_HI,
						 REG_CFWATTHR_HI };
	static const uint16_t fvarhr_regs[] = { REG_AFVARHR_HI,
						REG_BFVARHR_HI,
						REG_CFVARHR_HI };

	for (int i = 0; i < POWER_ENERGY_NUM_PHASES && status == 0; i++) {
		status = afe_read_32bit_buff(watt_regs[i], 1,
					     (uint32_t *)&pData->activePower[i]);
	}
	for (int i = 0; i < POWER_ENERGY_NUM_PHASES && status == 0; i++) {
		status = afe_read_32bit_buff(watthr_regs[i], 1,
					     (uint32_t *)&pData->activeEnergyHi[i]);
	}
	for (int i = 0; i < POWER_ENERGY_NUM_PHASES && status == 0; i++) {
		status = afe_read_32bit_buff(varhr_regs[i], 1,
					     (uint32_t *)&pData->reactiveEnergyHi[i]);
	}
	for (int i = 0; i < POWER_ENERGY_NUM_PHASES && status == 0; i++) {
		status = afe_read_32bit_buff(fwatt_regs[i], 1,
					     (uint32_t *)&pData->fundActivePower[i]);
	}
	for (int i = 0; i < POWER_ENERGY_NUM_PHASES && status == 0; i++) {
		status = afe_read_32bit_buff(fwatthr_regs[i], 1,
					     (uint32_t *)&pData->fundActiveEnergyHi[i]);
	}
	for (int i = 0; i < POWER_ENERGY_NUM_PHASES && status == 0; i++) {
		status = afe_read_32bit_buff(fvarhr_regs[i], 1,
					     (uint32_t *)&pData->fundReactiveEnergyHi[i]);
	}

	return status;
}

int afe_read_status0(uint32_t *pSTATUS0)
{
	int status = SYS_STATUS_SUCCESS;

	uint32_t status0 = 0;
	*pSTATUS0 = 0;

	status = afe_read_32bit_buff(REG_STATUS0, 1, pSTATUS0);
	status0 = *pSTATUS0;
	if (status != 0) {
		status = SYS_STATUS_AFE_STATUS0_FAILED;
	}

	if (status == 0 && status0 != 0) {
		/* W1C register: write back the bits that were set to clear them.
		 * Only clear bits we actually read, not unconditionally all. */
		uint32_t clear_mask = status0;
		status = afe_write_32bit_reg(REG_STATUS0, &clear_mask);
		if (status != 0) {
			status = SYS_STATUS_AFE_STATUS0_FAILED;
		}
	}

	return status;
}

void afe_wait_settling(uint32_t cycles)
{
	int status = 0;
	uint32_t status0;

	while (cycles > 0) {
		status = afe_read_status0((uint32_t *)&status0);
		if ((status == SYS_STATUS_AFE_STATUS0_FAILED) ||
		    (status == SYS_STATUS_SUCCESS)) {
			cycles--;
		}
	}
}

int afe_set_acc_mode(uint16_t frequency, uint16_t vconsel,
		     uint16_t iconsel)
{
	int status = SYS_STATUS_SUCCESS;
	uint16_t config = 0;

	vconsel <<= BITP_ACCMODE_VCONSEL;
	iconsel <<= BITP_ACCMODE_ICONSEL;

	if (frequency == 50) {
		frequency = BITM_ACCMODE_SELFREQ_50HZ;
	} else if (frequency == 60) {
		frequency = BITM_ACCMODE_SELFREQ_60HZ;
	} else {
		return SYS_STATUS_PQLIB_CONFIG_ERROR;
	}
	status = afe_read_16bit_buff(REG_ACCMODE, 1, &config);
	if (status != 0) {
		status = SYS_STATUS_AFE_ACCMODE_FAILED;
	}
	if (status == 0) {
		config = config & BITM_FREQ_VCONSEL_ICONSEL;
		config = config | frequency | vconsel | iconsel;
		status = afe_write_16bit_reg(REG_ACCMODE, (uint16_t *)&config);
		if (status != 0) {
			status = SYS_STATUS_AFE_ACCMODE_FAILED;
		}
	}
	return status;
}

int afe_set_ref_channel(uint16_t refChannel)
{
	int status = SYS_STATUS_SUCCESS;
	uint16_t config = 0;
	if (refChannel == ADI_PQLIB_REF_CHANNEL_VA) {
		refChannel = LP_SEL_APERIOD | ZX_SEL_ZXVA;
	} else if (refChannel == ADI_PQLIB_REF_CHANNEL_VB) {
		refChannel = LP_SEL_BPERIOD | ZX_SEL_ZXVB;
	} else if (refChannel == ADI_PQLIB_REF_CHANNEL_VC) {
		refChannel = LP_SEL_CPERIOD | ZX_SEL_ZXVC;
	} else {
		refChannel = BITM_ZX_LP_SEL_ZX_SEL | BITM_ZX_LP_SEL_LP_SEL;
	}
	config = refChannel;
	status = afe_write_16bit_reg(REG_ZX_LP_SEL, (uint16_t *)&config);
	if (status != 0) {
		status = SYS_STATUS_AFE_ZX_LP_SEL_FAILED;
	}
	return status;
}
```
